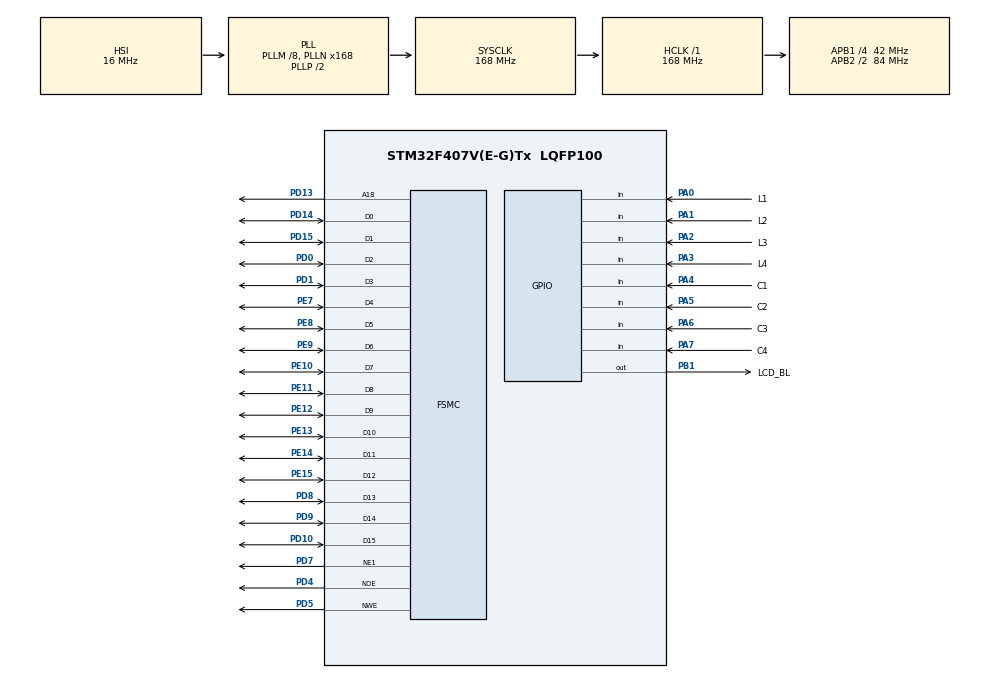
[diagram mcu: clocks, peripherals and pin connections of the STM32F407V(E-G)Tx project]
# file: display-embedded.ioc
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FSMC.AddressSetupTime1=6
FSMC.BusTurnAroundDuration1=0
FSMC.DataSetupTime1=6
Mcu.Family=STM32F4
Mcu.Name=STM32F407V(E-G)Tx
Mcu.Package=LQFP100
NVIC.PriorityGroup=NVIC_PRIORITYGROUP_4
PA0-WKUP.GPIO_Label=L1
PA0-WKUP.Signal=GPIO_Input
PA1.GPIO_Label=L2
PA1.Signal=GPIO_Input
PA2.GPIO_Label=L3
PA2.Signal=GPIO_Input
PA3.GPIO_Label=L4
PA3.Signal=GPIO_Input
PA4.GPIO_Label=C1
PA4.Signal=GPIO_Input
PA5.GPIO_Label=C2
PA5.Signal=GPIO_Input
PA6.GPIO_Label=C3
PA6.Signal=GPIO_Input
PA7.GPIO_Label=C4
PA7.Signal=GPIO_Input
PB1.GPIO_Label=LCD_BL
PB1.Signal=GPIO_Output
PD0.Mode=16b-d1
PD0.Signal=FSMC_D2
PD1.Mode=16b-d1
PD1.Signal=FSMC_D3
PD10.Mode=16b-d1
PD10.Signal=FSMC_D15
PD13.Mode=A18_1
PD13.Signal=FSMC_A18
PD14.Mode=16b-d1
PD14.Signal=FSMC_D0
PD15.Mode=16b-d1
PD15.Signal=FSMC_D1
PD4.Mode=Lcd1
PD4.Signal=FSMC_NOE
PD5.Mode=Lcd1
PD5.Signal=FSMC_NWE
PD7.Mode=NorPsramChipSelect1_1
PD7.Signal=FSMC_NE1
PD8.Mode=16b-d1
PD8.Signal=FSMC_D13
PD9.Mode=16b-d1
PD9.Signal=FSMC_D14
PE10.Mode=16b-d1
PE10.Signal=FSMC_D7
PE11.Mode=16b-d1
PE11.Signal=FSMC_D8
PE12.Mode=16b-d1
PE12.Signal=FSMC_D9
PE13.Mode=16b-d1
PE13.Signal=FSMC_D10
PE14.Mode=16b-d1
PE14.Signal=FSMC_D11
PE15.Mode=16b-d1
PE15.Signal=FSMC_D12
PE7.Mode=16b-d1
PE7.Signal=FSMC_D4
PE8.Mode=16b-d1
PE8.Signal=FSMC_D5
PE9.Mode=16b-d1
PE9.Signal=FSMC_D6
PH0-OSC_IN.Mode=HSE-External-Oscillator
PH0-OSC_IN.Signal=RCC_OSC_IN
PH1-OSC_OUT.Mode=HSE-External-Oscillator
PH1-OSC_OUT.Signal=RCC_OSC_OUT
ProjectManager.HeapSize=0x200
ProjectManager.StackSize=0x400
ProjectManager.TargetToolchain=STM32CubeIDE
RCC.48MHZClocksFreq_Value=84000000
RCC.AHBFreq_Value=168000000
RCC.APB1CLKDivider=RCC_HCLK_DIV4
RCC.APB1Freq_Value=42000000
RCC.APB1TimFreq_Value=84000000
RCC.APB2CLKDivider=RCC_HCLK_DIV2
RCC.APB2Freq_Value=84000000
RCC.APB2TimFreq_Value=168000000
RCC.CortexFreq_Value=168000000
RCC.HCLKFreq_Value=168000000
RCC.HSE_VALUE=25000000
RCC.HSI_VALUE=16000000
RCC.LSE_VALUE=32768
RCC.PLLM=8
RCC.PLLN=168
RCC.SYSCLKFreq_VALUE=168000000
RCC.SYSCLKSource=RCC_SYSCLKSOURCE_PLLCLK
RCC.VCOOutputFreq_Value=336000000
board=custom

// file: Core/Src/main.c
/* USER CODE BEGIN Header */
/**
  ******************************************************************************
  * @file           : main.c
  * @brief          : Main program body
  ******************************************************************************
  * @attention
  *
  * Copyright (c) 2025 STMicroelectronics.
  * All rights reserved.
  *
  * This software is licensed under terms that can be found in the LICENSE file
  * in the root directory of this software component.
  * If no LICENSE file comes with this software, it is provided AS-IS.
  *
  ******************************************************************************
  */
/* USER CODE END Header */
#include "main.h"

/* USER CODE BEGIN Includes */
#include "lcd.h"
#include "menu.h"
#include "keypad.h"
/* USER CODE END Includes */

SRAM_HandleTypeDef hsram1;

void SystemClock_Config(void);
static void MX_GPIO_Init(void);
static void MX_FSMC_Init(void);

int main(void)
{

  /* MCU Configuration--------------------------------------------------------*/

  /* Reset of all peripherals, Initializes the Flash interface and the Systick. */
  HAL_Init();

  /* Configure the system clock */
  SystemClock_Config();

  /* Initialize all configured peripherals */
  MX_GPIO_Init();
  MX_FSMC_Init();
  /* USER CODE BEGIN 2 */
  LCD_Init();
  LCD_DisplayOn();
  HAL_GPIO_WritePin(LCD_BL_GPIO_Port, LCD_BL_Pin, GPIO_PIN_SET);
  Keypad_Init();
  Menu_ShowWelcome("Inicializando...", 5000);
  Menu_Init();

  /* USER CODE END 2 */

  /* Infinite loop */
  while (1)
  {

    /* USER CODE BEGIN 3 */
    // Scan keypad for input
    Keypad_Scan();

    // Handle navigation
    int8_t nav_delta = Keypad_GetNavigationDelta();
    if (nav_delta != 0) {
      Menu_HandleInput(nav_delta);
    }

    // Handle selection
    if (Keypad_IsSelectPressed()) {
      MenuAction action = Menu_HandleInput(0); // 0 means select/confirm

      switch (action) {
        case MENU_ACTION_CONNECT:
          Menu_ShowWelcome("Conectando...", 2000);
          Menu_Draw(); // Return to menu
          break;

        case MENU_ACTION_SETTINGS:
          Menu_ShowWelcome("Configuracoes", 2000);
          Menu_Draw(); // Return to menu
          break;

        case MENU_ACTION_INFO:
          Menu_ShowWelcome("Informacoes do Sistema", 2000);
          Menu_Draw(); // Return to menu
          break;

        default:
          break;
      }
    }

    // Small delay to prevent excessive CPU usage
    HAL_Delay(10);
  }
  /* USER CODE END 3 */
}

void SystemClock_Config(void)
{
  RCC_OscInitTypeDef RCC_OscInitStruct = {0};
  RCC_ClkInitTypeDef RCC_ClkInitStruct = {0};

  /** Configure the main internal regulator output voltage
  */
  __HAL_RCC_PWR_CLK_ENABLE();
  __HAL_PWR_VOLTAGESCALING_CONFIG(PWR_REGULATOR_VOLTAGE_SCALE1);

  /** Initializes the RCC Oscillators according to the specified parameters
  * in the RCC_OscInitTypeDef structure.
  */
  RCC_OscInitStruct.OscillatorType = RCC_OSCILLATORTYPE_HSI;
  RCC_OscInitStruct.HSIState = RCC_HSI_ON;
  RCC_OscInitStruct.HSICalibrationValue = RCC_HSICALIBRATION_DEFAULT;
  RCC_OscInitStruct.PLL.PLLState = RCC_PLL_ON;
  RCC_OscInitStruct.PLL.PLLSource = RCC_PLLSOURCE_HSI;
  RCC_OscInitStruct.PLL.PLLM = 8;
  RCC_OscInitStruct.PLL.PLLN = 168;
  RCC_OscInitStruct.PLL.PLLP = RCC_PLLP_DIV2;
  RCC_OscInitStruct.PLL.PLLQ = 4;
  if (HAL_RCC_OscConfig(&RCC_OscInitStruct) != HAL_OK)
  {
    Error_Handler();
  }

  /** Initializes the CPU, AHB and APB buses clocks
  */
  RCC_ClkInitStruct.ClockType = RCC_CLOCKTYPE_HCLK|RCC_CLOCKTYPE_SYSCLK
                              |RCC_CLOCKTYPE_PCLK1|RCC_CLOCKTYPE_PCLK2;
  RCC_ClkInitStruct.SYSCLKSource = RCC_SYSCLKSOURCE_PLLCLK;
  RCC_ClkInitStruct.AHBCLKDivider = RCC_SYSCLK_DIV1;
  RCC_ClkInitStruct.APB1CLKDivider = RCC_HCLK_DIV4;
  RCC_ClkInitStruct.APB2CLKDivider = RCC_HCLK_DIV2;

  if (HAL_RCC_ClockConfig(&RCC_ClkInitStruct, FLASH_LATENCY_5) != HAL_OK)
  {
    Error_Handler();
  }
}

static void MX_GPIO_Init(void)
{
  GPIO_InitTypeDef GPIO_InitStruct = {0};

  /* GPIO Ports Clock Enable */
  __HAL_RCC_GPIOH_CLK_ENABLE();
  __HAL_RCC_GPIOA_CLK_ENABLE();
  __HAL_RCC_GPIOB_CLK_ENABLE();
  __HAL_RCC_GPIOE_CLK_ENABLE();
  __HAL_RCC_GPIOD_CLK_ENABLE();

  /*Configure GPIO pin Output Level */
  HAL_GPIO_WritePin(LCD_BL_GPIO_Port, LCD_BL_Pin, GPIO_PIN_RESET);

  /*Configure GPIO pins : L1_Pin L2_Pin L3_Pin L4_Pin
                           C1_Pin C2_Pin C3_Pin C4_Pin */
  GPIO_InitStruct.Pin = L1_Pin|L2_Pin|L3_Pin|L4_Pin
                          |C1_Pin|C2_Pin|C3_Pin|C4_Pin;
  GPIO_InitStruct.Mode = GPIO_MODE_INPUT;
  GPIO_InitStruct.Pull = GPIO_NOPULL;
  HAL_GPIO_Init(GPIOA, &GPIO_InitStruct);

  /*Configure GPIO pin : LCD_BL_Pin */
  GPIO_InitStruct.Pin = LCD_BL_Pin;
  GPIO_InitStruct.Mode = GPIO_MODE_OUTPUT_PP;
  GPIO_InitStruct.Pull = GPIO_NOPULL;
  GPIO_InitStruct.Speed = GPIO_SPEED_FREQ_LOW;
  HAL_GPIO_Init(LCD_BL_GPIO_Port, &GPIO_InitStruct);

}

/* FSMC initialization function */
static void MX_FSMC_Init(void)
{

  FSMC_NORSRAM_TimingTypeDef Timing = {0};

  /** Perform the SRAM1 memory initialization sequence
  */
  hsram1.Instance = FSMC_NORSRAM_DEVICE;
  hsram1.Extended = FSMC_NORSRAM_EXTENDED_DEVICE;
  /* hsram1.Init */
  hsram1.Init.NSBank = FSMC_NORSRAM_BANK1;
  hsram1.Init.DataAddressMux = FSMC_DATA_ADDRESS_MUX_DISABLE;
  hsram1.Init.MemoryType = FSMC_MEMORY_TYPE_SRAM;
  hsram1.Init.MemoryDataWidth = FSMC_NORSRAM_MEM_BUS_WIDTH_16;
  hsram1.Init.BurstAccessMode = FSMC_BURST_ACCESS_MODE_DISABLE;
  hsram1.Init.WaitSignalPolarity = FSMC_WAIT_SIGNAL_POLARITY_LOW;
  hsram1.Init.WrapMode = FSMC_WRAP_MODE_DISABLE;
  hsram1.Init.WaitSignalActive = FSMC_WAIT_TIMING_BEFORE_WS;
  hsram1.Init.WriteOperation = FSMC_WRITE_OPERATION_ENABLE;
  hsram1.Init.WaitSignal = FSMC_WAIT_SIGNAL_DISABLE;
  hsram1.Init.ExtendedMode = FSMC_EXTENDED_MODE_DISABLE;
  hsram1.Init.AsynchronousWait = FSMC_ASYNCHRONOUS_WAIT_DISABLE;
  hsram1.Init.WriteBurst = FSMC_WRITE_BURST_DISABLE;
  hsram1.Init.PageSize = FSMC_PAGE_SIZE_NONE;
  /* Timing */
  Timing.AddressSetupTime = 6;
  Timing.AddressHoldTime = 15;
  Timing.DataSetupTime = 6;
  Timing.BusTurnAroundDuration = 0;
  Timing.CLKDivision = 16;
  Timing.DataLatency = 17;
  Timing.AccessMode = FSMC_ACCESS_MODE_A;
  /* ExtTiming */

  if (HAL_SRAM_Init(&hsram1, &Timing, NULL) != HAL_OK)
  {
    Error_Handler( );
  }

}

void Error_Handler(void)
{
  __disable_irq();
  while (1)
  {
  }
}
